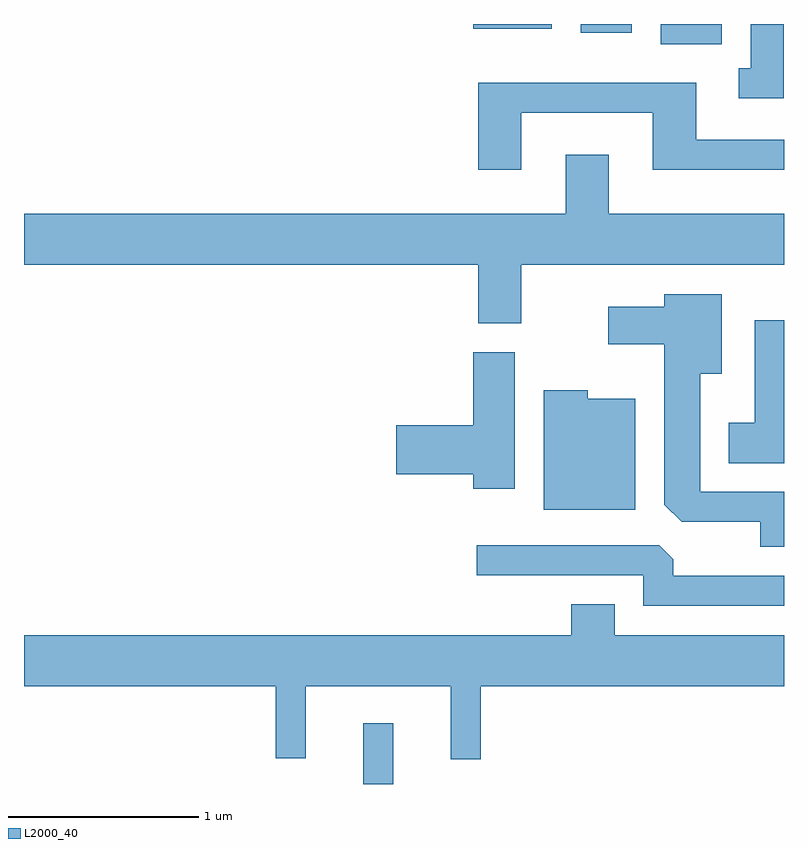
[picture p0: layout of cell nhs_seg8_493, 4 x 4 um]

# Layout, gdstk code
import gdstk
lib = gdstk.Library(unit=1e-6, precision=1e-09)
def R(c, l, rs):  # rectangles x0, y0, x1, y1
    for r in rs: c.add(gdstk.rectangle(r[:2], r[2:], *l))
def P(c, l, *ps):  # polygons
    for p in ps: c.add(gdstk.Polygon(p, *l))
L2000_40 = (2000, 40)

nhs_seg8_493 = lib.new_cell('nhs_seg8_493')
R(nhs_seg8_493, L2000_40, [(201.396,1840.342,201.554,1840.663), (202.961,1844.236,203.284,1844.342), (202.541,1844.296,202.809,1844.342), (201.976,1844.316,202.389,1844.342)])
P(nhs_seg8_493, L2000_40, [(203.609,1844.342),(203.436,1844.342),(203.436,1844.109),(203.373,1844.109),(203.373,1843.951),(203.609,1843.951)],
  [(202.229,1843.876),(202.921,1843.876),(202.921,1843.576),(203.611,1843.576),(203.611,1843.734),(203.149,1843.734),(203.149,1844.034),(202.001,1844.034),(202.001,1843.576),(202.229,1843.576)],
  [(202.229,1843.076),(203.611,1843.076),(203.611,1843.344),(202.689,1843.344),(202.689,1843.654),(202.461,1843.654),(202.461,1843.344),(199.611,1843.344),(199.611,1843.076),(202.001,1843.076),(202.001,1842.766),(202.229,1842.766)],
  [(203.611,1841.879),(203.169,1841.879),(203.169,1842.501),(203.284,1842.501),(203.284,1842.919),(202.981,1842.919),(202.981,1842.854),(202.686,1842.854),(202.686,1842.656),(202.981,1842.656),(202.981,1841.812),(203.072,1841.721),(203.486,1841.721),(203.486,1841.591),(203.611,1841.591)],
  [(203.611,1842.784),(203.456,1842.784),(203.456,1842.244),(203.321,1842.244),(203.321,1842.031),(203.611,1842.031)],
  [(202.194,1842.614),(201.976,1842.614),(201.976,1842.229),(201.571,1842.229),(201.571,1841.971),(201.976,1841.971),(201.976,1841.896),(202.194,1841.896)],
  [(202.829,1842.369),(202.579,1842.369),(202.579,1842.414),(202.346,1842.414),(202.346,1841.786),(202.829,1841.786)],
  [(203.611,1841.439),(203.029,1841.439),(203.029,1841.524),(202.954,1841.599),(201.993,1841.599),(201.993,1841.441),(202.871,1841.441),(202.871,1841.281),(203.611,1841.281)],
  [(202.014,1840.856),(203.611,1840.856),(203.611,1841.124),(202.719,1841.124),(202.719,1841.289),(202.491,1841.289),(202.491,1841.124),(199.611,1841.124),(199.611,1840.856),(200.936,1840.856),(200.936,1840.478),(201.094,1840.478),(201.094,1840.856),(201.856,1840.856),(201.856,1840.473),(202.014,1840.473)])

lib.write_gds('nhs_seg8_493.gds')
